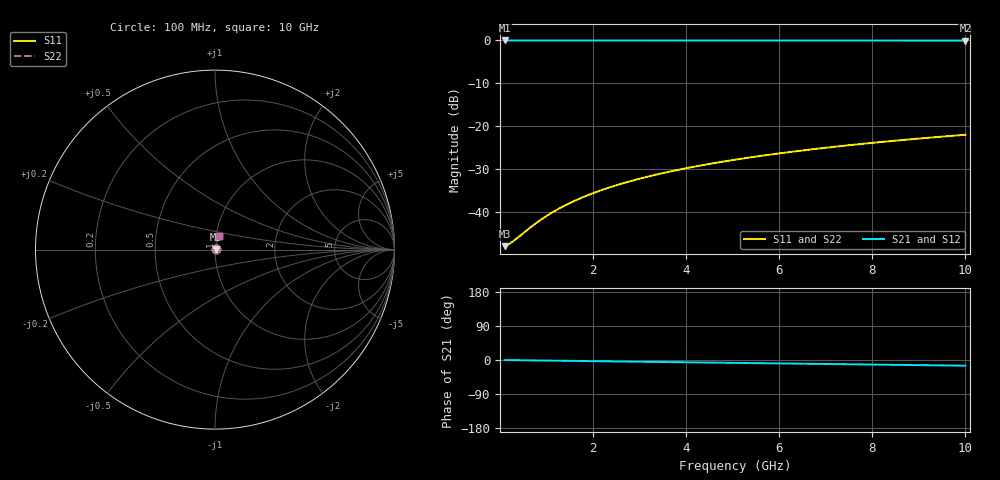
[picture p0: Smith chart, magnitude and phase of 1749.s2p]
# Hz S RI R 50.00
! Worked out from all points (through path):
!   100 points, 100 MHz to 10 GHz, reference 50 ohm
!   highest |S21| = -0.03 dB at 100 MHz (marker M1); lowest = -0.1 dB at 10 GHz (marker M2)
!   group delay of S21, straight-line fit = 4.17 ps
!   lowest |S11| = -47.9 dB at 100 MHz (marker M3), VSWR 1.01, Z = 50.4 + j0.0802 ohm
!   |S11| at or under -10 dB: start of sweep to end of sweep
!   |S22| runs from -47.9 to -22.0 dB; largest |S21 - S12| = 0
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1e8  0.00394 0.000796  0.9961 -0.00261  0.9961 -0.00261  0.00394 0.000796
2e8  0.00398 0.00159  0.996 -0.00523  0.996 -0.00523  0.00398 0.00159
3e8  0.004 0.00239  0.996 -0.00784  0.996 -0.00784  0.004 0.00239
6e8  0.0041 0.00477  0.9958 -0.0157  0.9958 -0.0157  0.0041 0.00477
8e8  0.00418 0.00636  0.9957 -0.0209  0.9957 -0.0209  0.00418 0.00636
9e8  0.00422 0.00716  0.9956 -0.0235  0.9956 -0.0235  0.00422 0.00716
1.1e9  0.00432 0.00875  0.9955 -0.0287  0.9955 -0.0287  0.00432 0.00875
1.4e9  0.0045 0.0111  0.9952 -0.0366  0.9952 -0.0366  0.0045 0.0111
1.6e9  0.00463 0.0127  0.9949 -0.0418  0.9949 -0.0418  0.00463 0.0127
1.8e9  0.00479 0.0143  0.9946 -0.047  0.9946 -0.047  0.00479 0.0143
2.1e9  0.00505 0.0167  0.9942 -0.0548  0.9942 -0.0548  0.00505 0.0167
2.5e9  0.00545 0.0198  0.9935 -0.0652  0.9935 -0.0652  0.00545 0.0198
2.9e9  0.00591 0.023  0.9926 -0.0757  0.9926 -0.0757  0.00591 0.023
3.4e9  0.00659 0.0269  0.9914 -0.0887  0.9914 -0.0887  0.00659 0.0269
3.8e9  0.0072 0.03  0.9903 -0.099  0.9903 -0.099  0.0072 0.03
4.2e9  0.00788 0.0331  0.9891 -0.1094  0.9891 -0.1094  0.00788 0.0331
5.1e9  0.00964 0.04  0.986 -0.1327  0.986 -0.1327  0.00964 0.04
5.9e9  0.0115 0.0461  0.9827 -0.1533  0.9827 -0.1533  0.0115 0.0461
6.7e9  0.0136 0.0521  0.9789 -0.1738  0.9789 -0.1738  0.0136 0.0521
7.5e9  0.0159 0.058  0.9746 -0.1942  0.9746 -0.1942  0.0159 0.058
8.4e9  0.0188 0.0645  0.9693 -0.2169  0.9693 -0.2169  0.0188 0.0645
1e10  0.0248 0.0757  0.9585 -0.257  0.9585 -0.257  0.0248 0.0757
